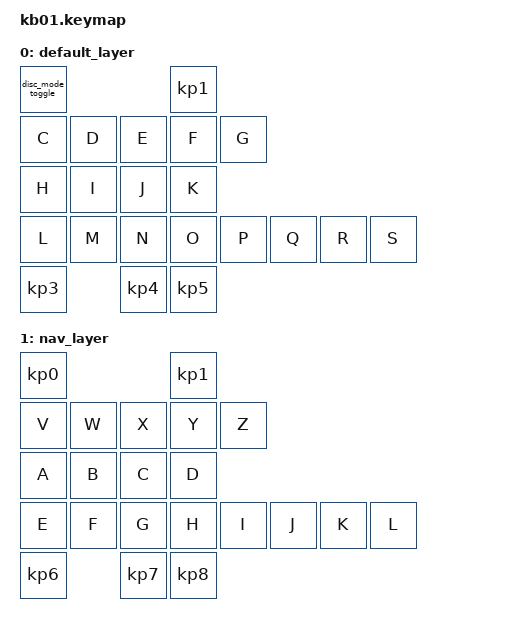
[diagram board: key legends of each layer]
#include <behaviors.dtsi>
#include <dt-bindings/zmk/keys.h>
#include <dt-bindings/zmk/bt.h>

/ {
	keymap {
		compatible = "zmk,keymap";

		default_layer {
			bindings = <
				&disc_mode_toggle &kp KP_N1
				&kp C &kp D &kp E &kp F &kp G
				&kp H &kp I &kp J &kp K
				&kp L &kp M &kp N &kp O &kp P &kp Q &kp R &kp S
				&kp KP_N3 &kp KP_N4 &kp KP_N5
			>;
		};

		nav_layer {
			bindings = <
				&kp KP_N0 &kp KP_N1
				&kp V &kp W &kp X &kp Y &kp Z
				&kp A &kp B &kp C &kp D
				&kp E &kp F &kp G &kp H &kp I &kp J &kp K &kp L
				&kp KP_N6 &kp KP_N7 &kp KP_N8
			>;
		};
	};
};
